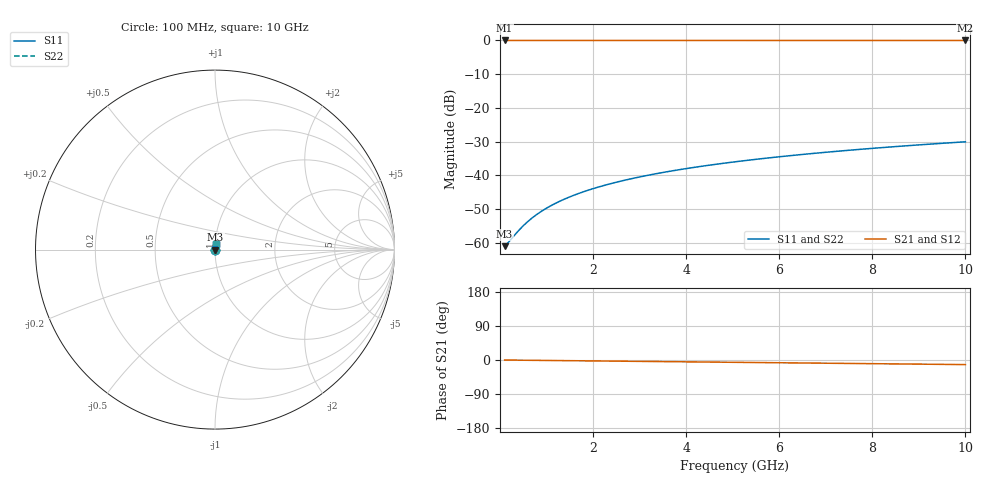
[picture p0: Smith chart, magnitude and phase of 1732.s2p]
# Hz S RI R 50.00
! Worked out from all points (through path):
!   100 points, 100 MHz to 10 GHz, reference 50 ohm
!   highest |S21| = -0.01 dB at 100 MHz (marker M1); lowest = 0.0 dB at 10 GHz (marker M2)
!   group delay of S21, straight-line fit = 3.37 ps
!   lowest |S11| = -61.0 dB at 100 MHz (marker M3), VSWR 1.00, Z = 50.1 + j0.0313 ohm
!   |S11| at or under -10 dB: start of sweep to end of sweep
!   |S22| runs from -61.0 to -30.1 dB; largest |S21 - S12| = 0
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1e8  0.000834 0.000313  0.9992 -0.0021  0.9992 -0.0021  0.000834 0.000313
2e8  0.00084 0.000626  0.9991 -0.0042  0.9991 -0.0042  0.00084 0.000626
4e8  0.000854 0.00125  0.9991 -0.0084  0.9991 -0.0084  0.000854 0.00125
5e8  0.000862 0.00156  0.9991 -0.0105  0.9991 -0.0105  0.000862 0.00156
6e8  0.000871 0.00188  0.9991 -0.0126  0.9991 -0.0126  0.000871 0.00188
7e8  0.000881 0.00219  0.999 -0.0147  0.999 -0.0147  0.000881 0.00219
8e8  0.000892 0.0025  0.999 -0.0168  0.999 -0.0168  0.000892 0.0025
1e9  0.000918 0.00313  0.9989 -0.021  0.9989 -0.021  0.000918 0.00313
1.2e9  0.000949 0.00375  0.9988 -0.0252  0.9988 -0.0252  0.000949 0.00375
1.5e9  0.001 0.00469  0.9986 -0.0315  0.9986 -0.0315  0.001 0.00469
1.8e9  0.00107 0.00562  0.9984 -0.0378  0.9984 -0.0378  0.00107 0.00562
2.1e9  0.00115 0.00655  0.9981 -0.0441  0.9981 -0.0441  0.00115 0.00655
2.5e9  0.00127 0.0078  0.9977 -0.0525  0.9977 -0.0525  0.00127 0.0078
2.9e9  0.00141 0.00904  0.9972 -0.0609  0.9972 -0.0609  0.00141 0.00904
3.4e9  0.00162 0.0106  0.9965 -0.0714  0.9965 -0.0714  0.00162 0.0106
4.2e9  0.00202 0.013  0.9951 -0.0883  0.9951 -0.0883  0.00202 0.013
5.1e9  0.00257 0.0158  0.9932 -0.1072  0.9932 -0.1072  0.00257 0.0158
5.9e9  0.00315 0.0182  0.9911 -0.124  0.9911 -0.124  0.00315 0.0182
6.7e9  0.00382 0.0207  0.9888 -0.1408  0.9888 -0.1408  0.00382 0.0207
7.5e9  0.00456 0.0231  0.9862 -0.1576  0.9862 -0.1576  0.00456 0.0231
8.4e9  0.00551 0.0258  0.9829 -0.1765  0.9829 -0.1765  0.00551 0.0258
1e10  0.00745 0.0305  0.9761 -0.21  0.9761 -0.21  0.00745 0.0305
